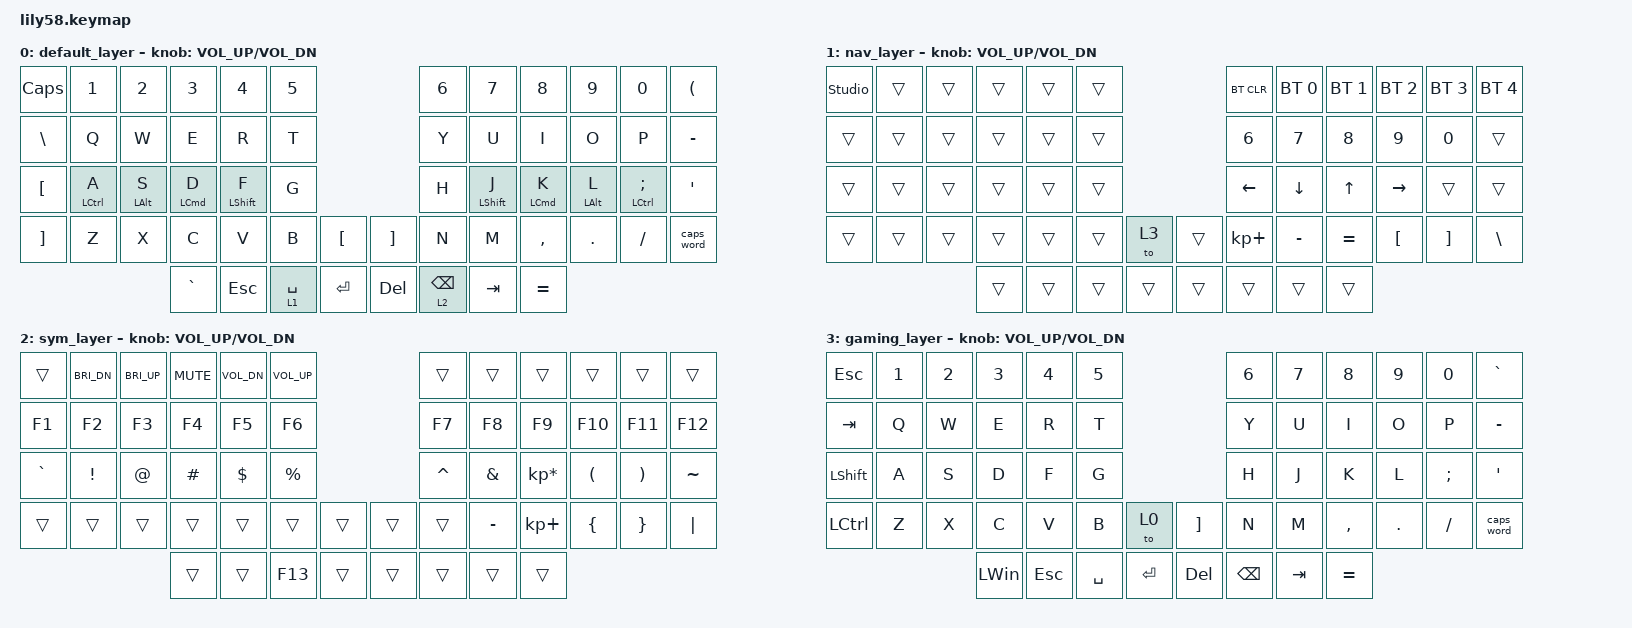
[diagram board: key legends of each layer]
/*
 * Copyright (c) 2020 The ZMK Contributors
 *
 * SPDX-License-Identifier: MIT
 */

#include <behaviors.dtsi>
#include <dt-bindings/zmk/bt.h>
#include <dt-bindings/zmk/keys.h>

&lt {
    hold-trigger-on-release;
    quick-tap-ms = <175>;
};

/ {
    behaviors {
        hml: hml {
            compatible = "zmk,behavior-hold-tap";
            label = "HML";
            bindings = <&kp>, <&kp>;

            #binding-cells = <2>;
            tapping-term-ms = <280>;
            flavor = "balanced";
            quick-tap-ms = <175>;
            hold-trigger-key-positions = <6 18 30 43 44 54 55 7 8 9 10 11 19 20 21 22 23 31 32 33 34 35 45 46 47 48 49 56 57>;
            hold-trigger-on-release;
        };

        hmr: hmr {
            compatible = "zmk,behavior-hold-tap";
            label = "HMR";
            bindings = <&kp>, <&kp>;

            #binding-cells = <2>;
            tapping-term-ms = <280>;
            quick-tap-ms = <175>;
            flavor = "balanced";
            hold-trigger-key-positions = <0 1 2 3 4 5 12 13 14 15 16 17 24 25 26 27 28 29 36 37 38 39 40 41 42 50 51 52 53>;
            hold-trigger-on-release;
        };
    };

    keymap {
        compatible = "zmk,keymap";

        default_layer {
            // ------------------------------------------------------------------------------------------------------------
            // |  ESC  |  1  |  2  |  3   |  4   |  5   |                   |  6   |  7    |  8    |  9   |   0   |   `   |
            // |  TAB  |  Q  |  W  |  E   |  R   |  T   |                   |  Y   |  U    |  I    |  O   |   P   |   -   |
            // |  CTRL |  A  |  S  |  D   |  F   |  G   |                   |  H   |  J    |  K    |  L   |   ;   |   '   |
            // | SHIFT |  Z  |  X  |  C   |  V   |  B   |   "["  |  |  "]"  |  N   |  M    |  ,    |  .   |   /   | SHIFT |
            //                     | ALT  | GUI  | LOWER|  SPACE |  | ENTER | RAISE| BSPC  | GUI   |

            bindings = <
&kp CAPSLOCK       &kp N1               &kp N2           &kp N3       &kp N4             &kp N5                                &kp N6           &kp N7             &kp N8               &kp N9           &kp N0                       &kp LEFT_PARENTHESIS
&kp BACKSLASH      &kp Q                &kp W            &kp E        &kp R              &kp T                                 &kp Y            &kp U              &kp I                &kp O            &kp P                        &kp MINUS
&kp LEFT_BRACKET   &hml LEFT_CONTROL A  &hml LEFT_ALT S  &hml LCMD D  &hml LEFT_SHIFT F  &kp G                                 &kp H            &hmr LEFT_SHIFT J  &hmr LEFT_COMMAND K  &hmr LEFT_ALT L  &hmr LEFT_CONTROL SEMICOLON  &kp SQT
&kp RIGHT_BRACKET  &kp Z                &kp X            &kp C        &kp V              &kp B        &kp LBKT     &kp RBKT    &kp N            &kp M              &kp COMMA            &kp DOT          &kp FSLH                     &caps_word
                                                         &kp GRAVE    &kp ESCAPE         &lt 1 SPACE  &kp ENTER    &kp DELETE  &lt 2 BACKSPACE  &kp TAB            &kp EQUAL
            >;

            sensor-bindings = <&inc_dec_kp C_VOL_UP C_VOL_DN>;
        };

        nav_layer {
            // ------------------------------------------------------------------------------------------------------------
            // |       |     |     |      |      |      |                   |      |       |       |      |       |       |
            // |   `   |  1  |  2  |  3   |  4   |  5   |                   |  6   |   7   |   8   |  9   |   0   |       |
            // |   F1  |  F2 |  F3 |  F4  |  F5  |  F6  |                   |      |   <-  |   v   |  ^   |  ->   |       |
            // |   F7  |  F8 |  F9 |  F10 |  F11 |  F12 |        |  |       |  +   |   -   |   =   |  [   |   ]   |   \   |
            //                     |      |      |      |        |  |       |      |       |       |

            bindings = <
&studio_unlock  &trans  &trans  &trans  &trans  &trans                    &bt BT_CLR      &bt BT_SEL 0  &bt BT_SEL 1  &bt BT_SEL 2  &bt BT_SEL 3  &bt BT_SEL 4
&trans          &trans  &trans  &trans  &trans  &trans                    &kp N6          &kp N7        &kp N8        &kp N9        &kp N0        &trans
&trans          &trans  &trans  &trans  &trans  &trans                    &kp LEFT_ARROW  &kp DOWN      &kp UP        &kp RIGHT     &trans        &trans
&trans          &trans  &trans  &trans  &trans  &trans  &to 3     &trans  &kp KP_PLUS     &kp MINUS     &kp EQUAL     &kp LBKT      &kp RBKT      &kp BSLH
                                &trans  &trans  &trans  &trans    &trans  &trans          &trans        &trans
            >;

            sensor-bindings = <&inc_dec_kp C_VOL_UP C_VOL_DN>;
        };

        sym_layer {
            // --------------------------------------------------------------------------------------------------------------
            // | LPAD  | BRDn | BRUp |  MUT |  Vo- |  Vo+ |                   |      |       |       |      |       |       |
            // |  F1   |  F2  |  F3  |  F4  |  F5  |  F6  |                   |  F7  |  F8   |  F9   |  F10 |  F11  |  F12  |
            // |   `   |  !   |  @   |  #   |  $   |  %   |                   |  ^   |  &    |  *    |  (   |   )   |   ~   |
            // |       |      |      |      |      |      |        |  |       |      |  _    |  +    |  {   |   }   |  "|"  |
            //                       |      |      |      |        |  |       |      |       |       |

            bindings = <
&trans     &kp C_BRI_DN  &kp C_BRI_UP  &kp C_MUTE  &kp C_VOL_DN  &kp C_VOL_UP                    &trans     &trans     &trans           &trans    &trans    &trans
&kp F1     &kp F2        &kp F3        &kp F4      &kp F5        &kp F6                          &kp F7     &kp F8     &kp F9           &kp F10   &kp F11   &kp F12
&kp GRAVE  &kp EXCL      &kp AT        &kp HASH    &kp DOLLAR    &kp PRCNT                       &kp CARET  &kp AMPS   &kp KP_MULTIPLY  &kp LPAR  &kp RPAR  &kp TILDE
&trans     &trans        &trans        &trans      &trans        &trans        &trans    &trans  &trans     &kp MINUS  &kp KP_PLUS      &kp LBRC  &kp RBRC  &kp PIPE
                                       &trans      &trans        &kp F13       &trans    &trans  &trans     &trans     &trans
            >;

            sensor-bindings = <&inc_dec_kp C_VOL_UP C_VOL_DN>;
        };

        gaming_layer {
            bindings = <
&kp ESCAPE      &kp N1  &kp N2  &kp N3        &kp N4      &kp N5                              &kp N6    &kp N7   &kp N8     &kp N9   &kp N0    &kp GRAVE
&kp TAB         &kp Q   &kp W   &kp E         &kp R       &kp T                               &kp Y     &kp U    &kp I      &kp O    &kp P     &kp MINUS
&kp LEFT_SHIFT  &kp A   &kp S   &kp D         &kp F       &kp G                               &kp H     &kp J    &kp K      &kp L    &kp SEMI  &kp SQT
&kp LCTRL       &kp Z   &kp X   &kp C         &kp V       &kp B      &to 0        &kp RBKT    &kp N     &kp M    &kp COMMA  &kp DOT  &kp FSLH  &caps_word
                                &kp LEFT_WIN  &kp ESCAPE  &kp SPACE  &kp ENTER    &kp DELETE  &kp BSPC  &kp TAB  &kp EQUAL
            >;

            sensor-bindings = <&inc_dec_kp C_VOL_UP C_VOL_DN>;
        };
    };
};
